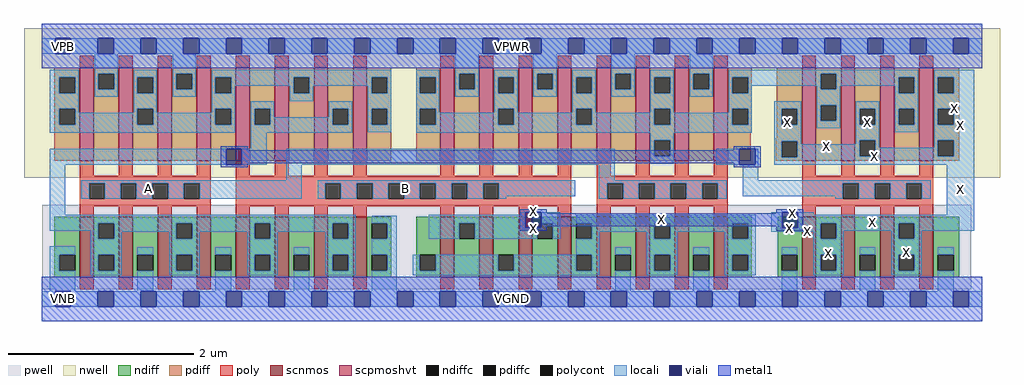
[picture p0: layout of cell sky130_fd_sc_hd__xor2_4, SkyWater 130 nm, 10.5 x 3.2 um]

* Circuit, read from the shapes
.subckt sky130_fd_sc_hd__xor2_4 A B VGND VNB VPB VPWR X
XM1 n1 A VGND VNB sky130_fd_pr__nfet_01v8 w=0.65 l=0.15 m=4
XM2 n1 B VGND VNB sky130_fd_pr__nfet_01v8 w=0.65 l=0.15 m=4
XM3 X B n2 VNB sky130_fd_pr__nfet_01v8 w=0.65 l=0.15 m=4
XM4 VGND A n2 VNB sky130_fd_pr__nfet_01v8 w=0.65 l=0.15 m=4
XM5 X n1 VGND VNB sky130_fd_pr__nfet_01v8 w=0.65 l=0.15 m=4
XM6 VPWR A n3 VPB sky130_fd_pr__pfet_01v8_hvt w=1 l=0.15 m=4
XM7 n1 B n3 VPB sky130_fd_pr__pfet_01v8_hvt w=1 l=0.15 m=4
XM8 VPWR B n4 VPB sky130_fd_pr__pfet_01v8_hvt w=1 l=0.15 m=4
XM9 VPWR A n4 VPB sky130_fd_pr__pfet_01v8_hvt w=1 l=0.15 m=4
XM10 n4 n1 X VPB sky130_fd_pr__pfet_01v8_hvt w=1 l=0.15 m=4
.ends

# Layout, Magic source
magic
tech sky130A
magscale 1 2
<< nwell >>
rect -38 261 2062 582
<< pwell >>
rect 1 21 2000 203
rect 29 -17 63 21
<< scnmos >>
rect 82 47 112 177
rect 166 47 196 177
rect 250 47 280 177
rect 334 47 364 177
rect 418 47 448 177
rect 502 47 532 177
rect 586 47 616 177
rect 670 47 700 177
rect 858 47 888 177
rect 942 47 972 177
rect 1026 47 1056 177
rect 1110 47 1140 177
rect 1194 47 1224 177
rect 1278 47 1308 177
rect 1362 47 1392 177
rect 1446 47 1476 177
rect 1636 47 1666 177
rect 1720 47 1750 177
rect 1804 47 1834 177
rect 1888 47 1918 177
<< scpmoshvt >>
rect 82 297 112 497
rect 166 297 196 497
rect 250 297 280 497
rect 334 297 364 497
rect 418 297 448 497
rect 502 297 532 497
rect 586 297 616 497
rect 670 297 700 497
rect 858 297 888 497
rect 942 297 972 497
rect 1026 297 1056 497
rect 1110 297 1140 497
rect 1194 297 1224 497
rect 1278 297 1308 497
rect 1362 297 1392 497
rect 1446 297 1476 497
rect 1636 297 1666 497
rect 1720 297 1750 497
rect 1804 297 1834 497
rect 1888 297 1918 497
<< ndiff >>
rect 27 95 82 177
rect 27 61 38 95
rect 72 61 82 95
rect 27 47 82 61
rect 112 163 166 177
rect 112 129 122 163
rect 156 129 166 163
rect 112 95 166 129
rect 112 61 122 95
rect 156 61 166 95
rect 112 47 166 61
rect 196 95 250 177
rect 196 61 206 95
rect 240 61 250 95
rect 196 47 250 61
rect 280 163 334 177
rect 280 129 290 163
rect 324 129 334 163
rect 280 95 334 129
rect 280 61 290 95
rect 324 61 334 95
rect 280 47 334 61
rect 364 95 418 177
rect 364 61 374 95
rect 408 61 418 95
rect 364 47 418 61
rect 448 163 502 177
rect 448 129 458 163
rect 492 129 502 163
rect 448 95 502 129
rect 448 61 458 95
rect 492 61 502 95
rect 448 47 502 61
rect 532 95 586 177
rect 532 61 542 95
rect 576 61 586 95
rect 532 47 586 61
rect 616 163 670 177
rect 616 129 626 163
rect 660 129 670 163
rect 616 95 670 129
rect 616 61 626 95
rect 660 61 670 95
rect 616 47 670 61
rect 700 163 752 177
rect 700 129 710 163
rect 744 129 752 163
rect 700 95 752 129
rect 700 61 710 95
rect 744 61 752 95
rect 700 47 752 61
rect 806 95 858 177
rect 806 61 814 95
rect 848 61 858 95
rect 806 47 858 61
rect 888 163 942 177
rect 888 129 898 163
rect 932 129 942 163
rect 888 47 942 129
rect 972 95 1026 177
rect 972 61 982 95
rect 1016 61 1026 95
rect 972 47 1026 61
rect 1056 163 1110 177
rect 1056 129 1066 163
rect 1100 129 1110 163
rect 1056 47 1110 129
rect 1140 163 1194 177
rect 1140 129 1150 163
rect 1184 129 1194 163
rect 1140 95 1194 129
rect 1140 61 1150 95
rect 1184 61 1194 95
rect 1140 47 1194 61
rect 1224 95 1278 177
rect 1224 61 1234 95
rect 1268 61 1278 95
rect 1224 47 1278 61
rect 1308 163 1362 177
rect 1308 129 1318 163
rect 1352 129 1362 163
rect 1308 95 1362 129
rect 1308 61 1318 95
rect 1352 61 1362 95
rect 1308 47 1362 61
rect 1392 95 1446 177
rect 1392 61 1402 95
rect 1436 61 1446 95
rect 1392 47 1446 61
rect 1476 163 1528 177
rect 1476 129 1486 163
rect 1520 129 1528 163
rect 1476 95 1528 129
rect 1476 61 1486 95
rect 1520 61 1528 95
rect 1476 47 1528 61
rect 1584 95 1636 177
rect 1584 61 1592 95
rect 1626 61 1636 95
rect 1584 47 1636 61
rect 1666 163 1720 177
rect 1666 129 1676 163
rect 1710 129 1720 163
rect 1666 95 1720 129
rect 1666 61 1676 95
rect 1710 61 1720 95
rect 1666 47 1720 61
rect 1750 95 1804 177
rect 1750 61 1760 95
rect 1794 61 1804 95
rect 1750 47 1804 61
rect 1834 163 1888 177
rect 1834 129 1844 163
rect 1878 129 1888 163
rect 1834 95 1888 129
rect 1834 61 1844 95
rect 1878 61 1888 95
rect 1834 47 1888 61
rect 1918 95 1974 177
rect 1918 61 1928 95
rect 1962 61 1974 95
rect 1918 47 1974 61
<< pdiff >>
rect 27 477 82 497
rect 27 443 38 477
rect 72 443 82 477
rect 27 409 82 443
rect 27 375 38 409
rect 72 375 82 409
rect 27 297 82 375
rect 112 485 166 497
rect 112 451 122 485
rect 156 451 166 485
rect 112 297 166 451
rect 196 477 250 497
rect 196 443 206 477
rect 240 443 250 477
rect 196 409 250 443
rect 196 375 206 409
rect 240 375 250 409
rect 196 297 250 375
rect 280 485 334 497
rect 280 451 290 485
rect 324 451 334 485
rect 280 297 334 451
rect 364 477 418 497
rect 364 443 374 477
rect 408 443 418 477
rect 364 409 418 443
rect 364 375 374 409
rect 408 375 418 409
rect 364 297 418 375
rect 448 409 502 497
rect 448 375 458 409
rect 492 375 502 409
rect 448 297 502 375
rect 532 477 586 497
rect 532 443 542 477
rect 576 443 586 477
rect 532 297 586 443
rect 616 409 670 497
rect 616 375 626 409
rect 660 375 670 409
rect 616 297 670 375
rect 700 477 752 497
rect 700 443 710 477
rect 744 443 752 477
rect 700 409 752 443
rect 700 375 710 409
rect 744 375 752 409
rect 700 297 752 375
rect 806 477 858 497
rect 806 443 814 477
rect 848 443 858 477
rect 806 409 858 443
rect 806 375 814 409
rect 848 375 858 409
rect 806 297 858 375
rect 888 485 942 497
rect 888 451 898 485
rect 932 451 942 485
rect 888 297 942 451
rect 972 477 1026 497
rect 972 443 982 477
rect 1016 443 1026 477
rect 972 409 1026 443
rect 972 375 982 409
rect 1016 375 1026 409
rect 972 297 1026 375
rect 1056 485 1110 497
rect 1056 451 1066 485
rect 1100 451 1110 485
rect 1056 297 1110 451
rect 1140 477 1194 497
rect 1140 443 1150 477
rect 1184 443 1194 477
rect 1140 409 1194 443
rect 1140 375 1150 409
rect 1184 375 1194 409
rect 1140 297 1194 375
rect 1224 485 1278 497
rect 1224 451 1234 485
rect 1268 451 1278 485
rect 1224 297 1278 451
rect 1308 477 1362 497
rect 1308 443 1318 477
rect 1352 443 1362 477
rect 1308 409 1362 443
rect 1308 375 1318 409
rect 1352 375 1362 409
rect 1308 341 1362 375
rect 1308 307 1318 341
rect 1352 307 1362 341
rect 1308 297 1362 307
rect 1392 485 1446 497
rect 1392 451 1402 485
rect 1436 451 1446 485
rect 1392 297 1446 451
rect 1476 477 1528 497
rect 1476 443 1486 477
rect 1520 443 1528 477
rect 1476 409 1528 443
rect 1476 375 1486 409
rect 1520 375 1528 409
rect 1476 361 1528 375
rect 1582 409 1636 497
rect 1582 375 1592 409
rect 1626 375 1636 409
rect 1476 297 1526 361
rect 1582 346 1636 375
rect 1580 339 1636 346
rect 1580 305 1592 339
rect 1626 305 1636 339
rect 1580 297 1636 305
rect 1666 485 1720 497
rect 1666 451 1676 485
rect 1710 451 1720 485
rect 1666 417 1720 451
rect 1666 383 1676 417
rect 1710 383 1720 417
rect 1666 297 1720 383
rect 1750 409 1804 497
rect 1750 375 1760 409
rect 1794 375 1804 409
rect 1750 341 1804 375
rect 1750 307 1760 341
rect 1794 307 1804 341
rect 1750 297 1804 307
rect 1834 477 1888 497
rect 1834 443 1844 477
rect 1878 443 1888 477
rect 1834 409 1888 443
rect 1834 375 1844 409
rect 1878 375 1888 409
rect 1834 297 1888 375
rect 1918 477 1974 497
rect 1918 443 1928 477
rect 1962 443 1974 477
rect 1918 409 1974 443
rect 1918 375 1928 409
rect 1962 375 1974 409
rect 1918 341 1974 375
rect 1918 307 1928 341
rect 1962 307 1974 341
rect 1918 297 1974 307
<< ndiffc >>
rect 38 61 72 95
rect 122 129 156 163
rect 122 61 156 95
rect 206 61 240 95
rect 290 129 324 163
rect 290 61 324 95
rect 374 61 408 95
rect 458 129 492 163
rect 458 61 492 95
rect 542 61 576 95
rect 626 129 660 163
rect 626 61 660 95
rect 710 129 744 163
rect 710 61 744 95
rect 814 61 848 95
rect 898 129 932 163
rect 982 61 1016 95
rect 1066 129 1100 163
rect 1150 129 1184 163
rect 1150 61 1184 95
rect 1234 61 1268 95
rect 1318 129 1352 163
rect 1318 61 1352 95
rect 1402 61 1436 95
rect 1486 129 1520 163
rect 1486 61 1520 95
rect 1592 61 1626 95
rect 1676 129 1710 163
rect 1676 61 1710 95
rect 1760 61 1794 95
rect 1844 129 1878 163
rect 1844 61 1878 95
rect 1928 61 1962 95
<< pdiffc >>
rect 38 443 72 477
rect 38 375 72 409
rect 122 451 156 485
rect 206 443 240 477
rect 206 375 240 409
rect 290 451 324 485
rect 374 443 408 477
rect 374 375 408 409
rect 458 375 492 409
rect 542 443 576 477
rect 626 375 660 409
rect 710 443 744 477
rect 710 375 744 409
rect 814 443 848 477
rect 814 375 848 409
rect 898 451 932 485
rect 982 443 1016 477
rect 982 375 1016 409
rect 1066 451 1100 485
rect 1150 443 1184 477
rect 1150 375 1184 409
rect 1234 451 1268 485
rect 1318 443 1352 477
rect 1318 375 1352 409
rect 1318 307 1352 341
rect 1402 451 1436 485
rect 1486 443 1520 477
rect 1486 375 1520 409
rect 1592 375 1626 409
rect 1592 305 1626 339
rect 1676 451 1710 485
rect 1676 383 1710 417
rect 1760 375 1794 409
rect 1760 307 1794 341
rect 1844 443 1878 477
rect 1844 375 1878 409
rect 1928 443 1962 477
rect 1928 375 1962 409
rect 1928 307 1962 341
<< poly >>
rect 82 497 112 523
rect 166 497 196 523
rect 250 497 280 523
rect 334 497 364 523
rect 418 497 448 523
rect 502 497 532 523
rect 586 497 616 523
rect 670 497 700 523
rect 858 497 888 523
rect 942 497 972 523
rect 1026 497 1056 523
rect 1110 497 1140 523
rect 1194 497 1224 523
rect 1278 497 1308 523
rect 1362 497 1392 523
rect 1446 497 1476 523
rect 1636 497 1666 523
rect 1720 497 1750 523
rect 1804 497 1834 523
rect 1888 497 1918 523
rect 82 265 112 297
rect 166 265 196 297
rect 250 265 280 297
rect 334 265 364 297
rect 82 249 364 265
rect 82 215 102 249
rect 136 215 170 249
rect 204 215 238 249
rect 272 215 306 249
rect 340 215 364 249
rect 82 199 364 215
rect 82 177 112 199
rect 166 177 196 199
rect 250 177 280 199
rect 334 177 364 199
rect 418 265 448 297
rect 502 265 532 297
rect 586 265 616 297
rect 670 265 700 297
rect 858 265 888 297
rect 942 265 972 297
rect 1026 265 1056 297
rect 1110 265 1140 297
rect 418 249 1140 265
rect 418 215 610 249
rect 644 215 678 249
rect 712 215 746 249
rect 780 215 814 249
rect 848 215 882 249
rect 916 215 950 249
rect 984 215 1140 249
rect 418 199 1140 215
rect 418 177 448 199
rect 502 177 532 199
rect 586 177 616 199
rect 670 177 700 199
rect 858 177 888 199
rect 942 177 972 199
rect 1026 177 1056 199
rect 1110 177 1140 199
rect 1194 265 1224 297
rect 1278 265 1308 297
rect 1362 265 1392 297
rect 1446 265 1476 297
rect 1194 249 1476 265
rect 1194 215 1217 249
rect 1251 215 1285 249
rect 1319 215 1353 249
rect 1387 215 1421 249
rect 1455 215 1476 249
rect 1194 199 1476 215
rect 1194 177 1224 199
rect 1278 177 1308 199
rect 1362 177 1392 199
rect 1446 177 1476 199
rect 1636 265 1666 297
rect 1720 265 1750 297
rect 1804 265 1834 297
rect 1888 265 1918 297
rect 1636 249 1918 265
rect 1636 215 1724 249
rect 1758 215 1792 249
rect 1826 215 1860 249
rect 1894 215 1918 249
rect 1636 199 1918 215
rect 1636 177 1666 199
rect 1720 177 1750 199
rect 1804 177 1834 199
rect 1888 177 1918 199
rect 82 21 112 47
rect 166 21 196 47
rect 250 21 280 47
rect 334 21 364 47
rect 418 21 448 47
rect 502 21 532 47
rect 586 21 616 47
rect 670 21 700 47
rect 858 21 888 47
rect 942 21 972 47
rect 1026 21 1056 47
rect 1110 21 1140 47
rect 1194 21 1224 47
rect 1278 21 1308 47
rect 1362 21 1392 47
rect 1446 21 1476 47
rect 1636 21 1666 47
rect 1720 21 1750 47
rect 1804 21 1834 47
rect 1888 21 1918 47
<< polycont >>
rect 102 215 136 249
rect 170 215 204 249
rect 238 215 272 249
rect 306 215 340 249
rect 610 215 644 249
rect 678 215 712 249
rect 746 215 780 249
rect 814 215 848 249
rect 882 215 916 249
rect 950 215 984 249
rect 1217 215 1251 249
rect 1285 215 1319 249
rect 1353 215 1387 249
rect 1421 215 1455 249
rect 1724 215 1758 249
rect 1792 215 1826 249
rect 1860 215 1894 249
<< locali >>
rect 0 527 29 561
rect 63 527 121 561
rect 155 527 213 561
rect 247 527 305 561
rect 339 527 397 561
rect 431 527 489 561
rect 523 527 581 561
rect 615 527 673 561
rect 707 527 765 561
rect 799 527 857 561
rect 891 527 949 561
rect 983 527 1041 561
rect 1075 527 1133 561
rect 1167 527 1225 561
rect 1259 527 1317 561
rect 1351 527 1409 561
rect 1443 527 1501 561
rect 1535 527 1593 561
rect 1627 527 1685 561
rect 1719 527 1777 561
rect 1811 527 1869 561
rect 1903 527 1961 561
rect 1995 527 2024 561
rect 17 477 80 493
rect 17 443 38 477
rect 72 443 80 477
rect 17 409 80 443
rect 114 485 164 527
rect 114 451 122 485
rect 156 451 164 485
rect 114 435 164 451
rect 198 477 248 493
rect 198 443 206 477
rect 240 443 248 477
rect 17 375 38 409
rect 72 401 80 409
rect 198 409 248 443
rect 282 485 332 527
rect 282 451 290 485
rect 324 451 332 485
rect 282 435 332 451
rect 366 477 752 493
rect 366 443 374 477
rect 408 459 542 477
rect 408 443 416 459
rect 198 401 206 409
rect 72 375 206 401
rect 240 401 248 409
rect 366 409 416 443
rect 534 443 542 459
rect 576 459 710 477
rect 576 443 584 459
rect 534 425 584 443
rect 702 443 710 459
rect 744 443 752 477
rect 366 401 374 409
rect 240 375 374 401
rect 408 375 416 409
rect 17 357 416 375
rect 450 409 500 425
rect 450 375 458 409
rect 492 391 500 409
rect 618 409 668 425
rect 618 391 626 409
rect 492 375 626 391
rect 660 375 668 409
rect 450 357 668 375
rect 702 409 752 443
rect 702 375 710 409
rect 744 375 752 409
rect 702 359 752 375
rect 806 477 856 493
rect 806 443 814 477
rect 848 443 856 477
rect 806 409 856 443
rect 890 485 940 527
rect 890 451 898 485
rect 932 451 940 485
rect 890 435 940 451
rect 974 477 1024 493
rect 974 443 982 477
rect 1016 443 1024 477
rect 806 375 814 409
rect 848 401 856 409
rect 974 409 1024 443
rect 1058 485 1108 527
rect 1058 451 1066 485
rect 1100 451 1108 485
rect 1058 435 1108 451
rect 1142 477 1192 493
rect 1142 443 1150 477
rect 1184 443 1192 477
rect 974 401 982 409
rect 848 375 982 401
rect 1016 401 1024 409
rect 1142 409 1192 443
rect 1226 485 1276 527
rect 1226 451 1234 485
rect 1268 451 1276 485
rect 1226 435 1276 451
rect 1310 477 1360 493
rect 1310 443 1318 477
rect 1352 443 1360 477
rect 1142 401 1150 409
rect 1016 375 1150 401
rect 1184 401 1192 409
rect 1310 409 1360 443
rect 1394 485 1444 527
rect 1394 451 1402 485
rect 1436 451 1444 485
rect 1394 435 1444 451
rect 1478 485 1886 493
rect 1478 477 1676 485
rect 1478 443 1486 477
rect 1520 459 1676 477
rect 1520 443 1528 459
rect 1310 401 1318 409
rect 1184 375 1318 401
rect 1352 401 1360 409
rect 1478 409 1528 443
rect 1668 451 1676 459
rect 1710 477 1886 485
rect 1710 459 1844 477
rect 1710 451 1718 459
rect 1478 401 1486 409
rect 1352 375 1486 401
rect 1520 375 1528 409
rect 806 357 1528 375
rect 1576 409 1634 425
rect 1576 375 1592 409
rect 1626 375 1634 409
rect 450 323 484 357
rect 1310 341 1360 357
rect 17 289 397 323
rect 431 289 484 323
rect 526 289 1233 323
rect 1310 307 1318 341
rect 1352 307 1360 341
rect 1576 339 1634 375
rect 1668 417 1718 451
rect 1836 443 1844 459
rect 1878 443 1886 477
rect 1668 383 1676 417
rect 1710 383 1718 417
rect 1668 367 1718 383
rect 1752 409 1802 425
rect 1752 375 1760 409
rect 1794 375 1802 409
rect 1310 291 1360 307
rect 1452 289 1501 323
rect 1535 289 1542 323
rect 1576 305 1592 339
rect 1626 333 1634 339
rect 1752 341 1802 375
rect 1836 409 1886 443
rect 1836 375 1844 409
rect 1878 375 1886 409
rect 1836 359 1886 375
rect 1920 477 2007 493
rect 1920 443 1928 477
rect 1962 443 2007 477
rect 1920 409 2007 443
rect 1920 375 1928 409
rect 1962 375 2007 409
rect 1752 333 1760 341
rect 1626 307 1760 333
rect 1794 325 1802 341
rect 1920 341 2007 375
rect 1920 325 1928 341
rect 1794 307 1928 325
rect 1962 307 2007 341
rect 1626 305 2007 307
rect 1576 289 2007 305
rect 17 181 51 289
rect 526 255 560 289
rect 1199 255 1233 289
rect 1508 255 1542 289
rect 85 249 560 255
rect 85 215 102 249
rect 136 215 170 249
rect 204 215 238 249
rect 272 215 306 249
rect 340 215 560 249
rect 594 249 1148 255
rect 594 215 610 249
rect 644 215 678 249
rect 712 215 746 249
rect 780 215 814 249
rect 848 215 882 249
rect 916 215 950 249
rect 984 221 1148 249
rect 1199 249 1474 255
rect 984 215 1000 221
rect 1199 215 1217 249
rect 1251 215 1285 249
rect 1319 215 1353 249
rect 1387 215 1421 249
rect 1455 215 1474 249
rect 1508 249 1913 255
rect 1508 221 1724 249
rect 1708 215 1724 221
rect 1758 215 1792 249
rect 1826 215 1860 249
rect 1894 215 1913 249
rect 1030 181 1041 187
rect 17 163 676 181
rect 17 147 122 163
rect 106 129 122 147
rect 156 145 290 163
rect 156 129 172 145
rect 17 95 72 113
rect 17 61 38 95
rect 17 17 72 61
rect 106 95 172 129
rect 274 129 290 145
rect 324 145 458 163
rect 324 129 340 145
rect 106 61 122 95
rect 156 61 172 95
rect 106 51 172 61
rect 206 95 240 111
rect 206 17 240 61
rect 274 95 340 129
rect 442 129 458 145
rect 492 145 626 163
rect 492 129 508 145
rect 274 61 290 95
rect 324 61 340 95
rect 274 51 340 61
rect 374 95 408 111
rect 374 17 408 61
rect 442 95 508 129
rect 610 129 626 145
rect 660 129 676 163
rect 442 61 458 95
rect 492 61 508 95
rect 442 51 508 61
rect 542 95 576 111
rect 542 17 576 61
rect 610 95 676 129
rect 610 61 626 95
rect 660 61 676 95
rect 610 51 676 61
rect 710 163 764 179
rect 744 129 764 163
rect 833 163 1041 181
rect 1075 163 1116 187
rect 833 129 898 163
rect 932 153 1041 163
rect 932 129 1066 153
rect 1100 129 1116 163
rect 1150 163 1536 181
rect 1184 145 1318 163
rect 1184 129 1200 145
rect 710 95 764 129
rect 1150 95 1200 129
rect 1302 129 1318 145
rect 1352 145 1486 163
rect 1352 129 1368 145
rect 744 61 764 95
rect 710 17 764 61
rect 798 61 814 95
rect 848 61 982 95
rect 1016 61 1150 95
rect 1184 61 1200 95
rect 798 51 1200 61
rect 1234 95 1268 111
rect 1234 17 1268 61
rect 1302 95 1368 129
rect 1470 129 1486 145
rect 1520 129 1536 163
rect 1570 153 1593 187
rect 1627 181 1661 187
rect 1947 181 2007 289
rect 1627 163 2007 181
rect 1627 153 1676 163
rect 1570 145 1676 153
rect 1302 61 1318 95
rect 1352 61 1368 95
rect 1302 51 1368 61
rect 1402 95 1436 111
rect 1402 17 1436 61
rect 1470 95 1536 129
rect 1660 129 1676 145
rect 1710 147 1844 163
rect 1710 129 1726 147
rect 1470 61 1486 95
rect 1520 61 1536 95
rect 1470 51 1536 61
rect 1592 95 1626 111
rect 1592 17 1626 61
rect 1660 95 1726 129
rect 1828 129 1844 147
rect 1878 147 2007 163
rect 1878 129 1894 147
rect 1660 61 1676 95
rect 1710 61 1726 95
rect 1660 51 1726 61
rect 1760 95 1794 111
rect 1760 17 1794 61
rect 1828 95 1894 129
rect 1828 61 1844 95
rect 1878 61 1894 95
rect 1828 51 1894 61
rect 1928 95 1962 111
rect 1928 17 1962 61
rect 0 -17 29 17
rect 63 -17 121 17
rect 155 -17 213 17
rect 247 -17 305 17
rect 339 -17 397 17
rect 431 -17 489 17
rect 523 -17 581 17
rect 615 -17 673 17
rect 707 -17 765 17
rect 799 -17 857 17
rect 891 -17 949 17
rect 983 -17 1041 17
rect 1075 -17 1133 17
rect 1167 -17 1225 17
rect 1259 -17 1317 17
rect 1351 -17 1409 17
rect 1443 -17 1501 17
rect 1535 -17 1593 17
rect 1627 -17 1685 17
rect 1719 -17 1777 17
rect 1811 -17 1869 17
rect 1903 -17 1961 17
rect 1995 -17 2024 17
<< viali >>
rect 29 527 63 561
rect 121 527 155 561
rect 213 527 247 561
rect 305 527 339 561
rect 397 527 431 561
rect 489 527 523 561
rect 581 527 615 561
rect 673 527 707 561
rect 765 527 799 561
rect 857 527 891 561
rect 949 527 983 561
rect 1041 527 1075 561
rect 1133 527 1167 561
rect 1225 527 1259 561
rect 1317 527 1351 561
rect 1409 527 1443 561
rect 1501 527 1535 561
rect 1593 527 1627 561
rect 1685 527 1719 561
rect 1777 527 1811 561
rect 1869 527 1903 561
rect 1961 527 1995 561
rect 397 289 431 323
rect 1501 289 1535 323
rect 1041 163 1075 187
rect 1041 153 1066 163
rect 1066 153 1075 163
rect 1593 153 1627 187
rect 29 -17 63 17
rect 121 -17 155 17
rect 213 -17 247 17
rect 305 -17 339 17
rect 397 -17 431 17
rect 489 -17 523 17
rect 581 -17 615 17
rect 673 -17 707 17
rect 765 -17 799 17
rect 857 -17 891 17
rect 949 -17 983 17
rect 1041 -17 1075 17
rect 1133 -17 1167 17
rect 1225 -17 1259 17
rect 1317 -17 1351 17
rect 1409 -17 1443 17
rect 1501 -17 1535 17
rect 1593 -17 1627 17
rect 1685 -17 1719 17
rect 1777 -17 1811 17
rect 1869 -17 1903 17
rect 1961 -17 1995 17
<< metal1 >>
rect 0 561 2024 592
rect 0 527 29 561
rect 63 527 121 561
rect 155 527 213 561
rect 247 527 305 561
rect 339 527 397 561
rect 431 527 489 561
rect 523 527 581 561
rect 615 527 673 561
rect 707 527 765 561
rect 799 527 857 561
rect 891 527 949 561
rect 983 527 1041 561
rect 1075 527 1133 561
rect 1167 527 1225 561
rect 1259 527 1317 561
rect 1351 527 1409 561
rect 1443 527 1501 561
rect 1535 527 1593 561
rect 1627 527 1685 561
rect 1719 527 1777 561
rect 1811 527 1869 561
rect 1903 527 1961 561
rect 1995 527 2024 561
rect 0 496 2024 527
rect 385 323 443 329
rect 385 289 397 323
rect 431 320 443 323
rect 1489 323 1547 329
rect 1489 320 1501 323
rect 431 292 1501 320
rect 431 289 443 292
rect 385 283 443 289
rect 1489 289 1501 292
rect 1535 289 1547 323
rect 1489 283 1547 289
rect 1029 187 1087 193
rect 1029 153 1041 187
rect 1075 184 1087 187
rect 1581 187 1639 193
rect 1581 184 1593 187
rect 1075 156 1593 184
rect 1075 153 1087 156
rect 1029 147 1087 153
rect 1581 153 1593 156
rect 1627 153 1639 187
rect 1581 147 1639 153
rect 0 17 2024 48
rect 0 -17 29 17
rect 63 -17 121 17
rect 155 -17 213 17
rect 247 -17 305 17
rect 339 -17 397 17
rect 431 -17 489 17
rect 523 -17 581 17
rect 615 -17 673 17
rect 707 -17 765 17
rect 799 -17 857 17
rect 891 -17 949 17
rect 983 -17 1041 17
rect 1075 -17 1133 17
rect 1167 -17 1225 17
rect 1259 -17 1317 17
rect 1351 -17 1409 17
rect 1443 -17 1501 17
rect 1535 -17 1593 17
rect 1627 -17 1685 17
rect 1719 -17 1777 17
rect 1811 -17 1869 17
rect 1903 -17 1961 17
rect 1995 -17 2024 17
rect 0 -48 2024 -17
<< labels >>
flabel locali s 1961 357 1995 391 0 FreeSans 400 0 0 0 X
port 7 nsew signal output
flabel locali s 765 221 799 255 0 FreeSans 400 0 0 0 B
port 2 nsew signal input
flabel locali s 213 221 247 255 0 FreeSans 400 0 0 0 A
port 1 nsew signal input
flabel pwell s 29 -17 63 17 0 FreeSans 200 0 0 0 VNB
port 4 nsew ground bidirectional
flabel nwell s 29 527 63 561 0 FreeSans 200 0 0 0 VPB
port 5 nsew power bidirectional
flabel metal1 s 29 -17 63 17 0 FreeSans 200 0 0 0 VGND
port 3 nsew ground bidirectional abutment
flabel metal1 s 29 527 63 561 0 FreeSans 200 0 0 0 VPWR
port 6 nsew power bidirectional abutment
rlabel comment s 0 0 0 0 4 xor2_4
rlabel locali s 1947 181 2007 289 1 X
port 7 nsew signal output
rlabel locali s 1920 325 2007 493 1 X
port 7 nsew signal output
rlabel locali s 1828 51 1894 147 1 X
port 7 nsew signal output
rlabel locali s 1752 333 1802 425 1 X
port 7 nsew signal output
rlabel locali s 1660 51 1726 145 1 X
port 7 nsew signal output
rlabel locali s 1576 333 1634 425 1 X
port 7 nsew signal output
rlabel locali s 1576 325 1802 333 1 X
port 7 nsew signal output
rlabel locali s 1576 289 2007 325 1 X
port 7 nsew signal output
rlabel locali s 1570 181 1661 187 1 X
port 7 nsew signal output
rlabel locali s 1570 147 2007 181 1 X
port 7 nsew signal output
rlabel locali s 1570 145 1726 147 1 X
port 7 nsew signal output
rlabel metal1 s 1581 184 1639 193 1 X
port 7 nsew signal output
rlabel metal1 s 1581 147 1639 156 1 X
port 7 nsew signal output
rlabel metal1 s 1029 184 1087 193 1 X
port 7 nsew signal output
rlabel metal1 s 1029 156 1639 184 1 X
port 7 nsew signal output
rlabel metal1 s 1029 147 1087 156 1 X
port 7 nsew signal output
rlabel metal1 s 0 -48 2024 48 1 VGND
port 3 nsew ground bidirectional abutment
rlabel metal1 s 0 496 2024 592 1 VPWR
port 6 nsew power bidirectional abutment
<< properties >>
string FIXED_BBOX 0 0 2024 544
string GDS_END 661364
string GDS_FILE $PDKPATH/libs.ref/sky130_fd_sc_hd/gds/sky130_fd_sc_hd.gds
string GDS_START 646958
string LEFclass CORE
string LEFsite unithd
string LEFsymmetry X Y R90
string path 0.000 0.000 10.120 0.000 
<< end >>
